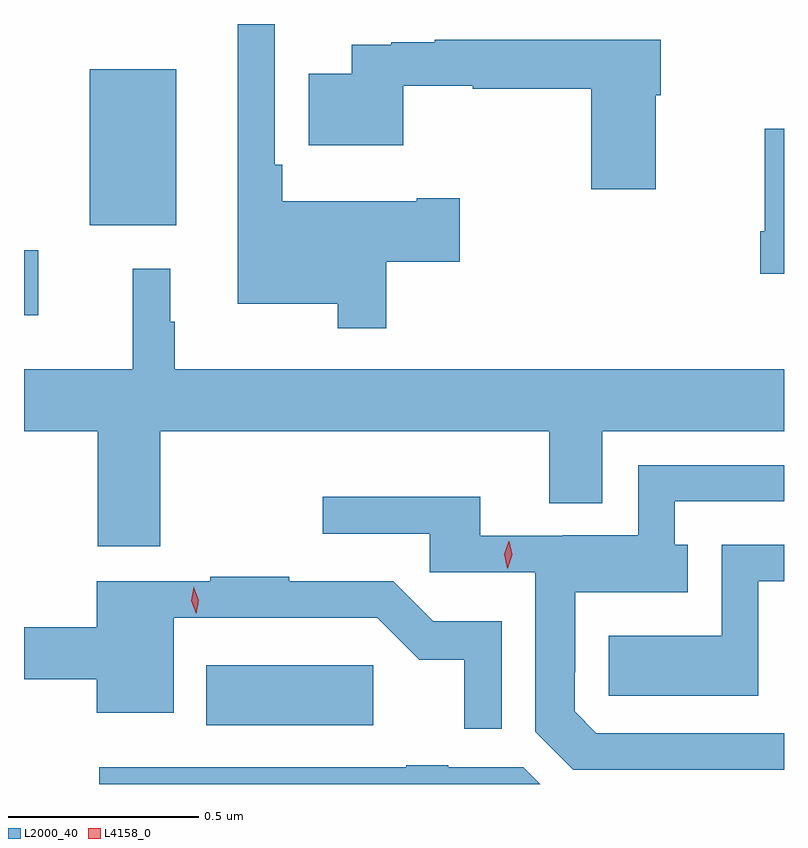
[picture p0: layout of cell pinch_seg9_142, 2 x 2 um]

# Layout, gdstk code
import gdstk
lib = gdstk.Library(unit=1e-6, precision=1e-09)
def R(c, l, rs):  # rectangles x0, y0, x1, y1
    for r in rs: c.add(gdstk.rectangle(r[:2], r[2:], *l))
def P(c, l, *ps):  # polygons
    for p in ps: c.add(gdstk.Polygon(p, *l))
L2000_40 = (2000, 40)
L4158_0 = (4158, 0)

pinch_seg9_142 = lib.new_cell('pinch_seg9_142')
R(pinch_seg9_142, L2000_40, [(648.278,1232.942,648.718,1233.1), (647.799,1234.022,647.836,1234.193), (647.972,1234.259,648.199,1234.669)])
P(pinch_seg9_142, L2000_40, [(648.752,1234.163),(648.946,1234.163),(648.946,1234.329),(648.833,1234.329),(648.833,1234.321),(648.479,1234.321),(648.479,1234.417),(648.459,1234.417),(648.459,1234.788),(648.362,1234.788),(648.362,1234.052),(648.624,1234.052),(648.624,1233.987),(648.752,1233.987)],
  [(649.462,1234.601),(649.475,1234.601),(649.475,1234.747),(648.88,1234.747),(648.88,1234.74),(648.766,1234.74),(648.766,1234.734),(648.662,1234.734),(648.662,1234.657),(648.548,1234.657),(648.548,1234.469),(648.797,1234.469),(648.797,1234.626),(648.98,1234.626),(648.98,1234.618),(649.292,1234.618),(649.292,1234.353),(649.462,1234.353)],
  [(649.799,1234.512),(649.748,1234.512),(649.748,1234.243),(649.736,1234.243),(649.736,1234.131),(649.799,1234.131)],
  [(648.158,1233.716),(649.181,1233.716),(649.181,1233.527),(649.321,1233.527),(649.321,1233.716),(649.799,1233.716),(649.799,1233.88),(648.196,1233.88),(648.196,1234.004),(648.184,1234.004),(648.184,1234.144),(648.085,1234.144),(648.085,1233.88),(647.799,1233.88),(647.799,1233.716),(647.993,1233.716),(647.993,1233.414),(648.158,1233.414)],
  [(649.799,1232.922),(649.305,1232.922),(649.248,1232.979),(649.248,1233.082),(649.249,1233.082),(649.249,1233.293),(649.546,1233.293),(649.546,1233.418),(649.512,1233.418),(649.512,1233.532),(649.799,1233.532),(649.799,1233.627),(649.416,1233.627),(649.416,1233.442),(649.217,1233.442),(649.217,1233.441),(649,1233.441),(649,1233.544),(648.585,1233.544),(648.585,1233.447),(648.867,1233.447),(648.867,1233.345),(649.145,1233.345),(649.145,1232.926),(649.245,1232.826),(649.799,1232.826)],
  [(649.731,1233.321),(649.799,1233.321),(649.799,1233.417),(649.635,1233.417),(649.635,1233.178),(649.338,1233.178),(649.338,1233.02),(649.731,1233.02)],
  [(649.056,1233.216),(648.876,1233.216),(648.771,1233.321),(648.497,1233.321),(648.497,1233.334),(648.289,1233.334),(648.289,1233.321),(647.99,1233.321),(647.99,1233.2),(647.799,1233.2),(647.799,1233.064),(647.99,1233.064),(647.99,1232.975),(648.193,1232.975),(648.193,1233.225),(648.729,1233.225),(648.839,1233.115),(648.958,1233.115),(648.958,1232.934),(649.056,1232.934)],
  [(649.113,1232.832),(648.916,1232.832),(648.916,1232.837),(648.805,1232.837),(648.805,1232.832),(647.997,1232.832),(647.997,1232.788),(649.157,1232.788)])
P(pinch_seg9_142, L4158_0, [(649.071,1233.356),(649.071,1233.356),(649.063,1233.392),(649.075,1233.427),(649.076,1233.427),(649.076,1233.427),(649.084,1233.391),(649.072,1233.356)],
  [(648.252,1233.236),(648.252,1233.236),(648.239,1233.27),(648.246,1233.306),(648.246,1233.307),(648.246,1233.306),(648.259,1233.272),(648.252,1233.236)])

lib.write_gds('pinch_seg9_142.gds')
